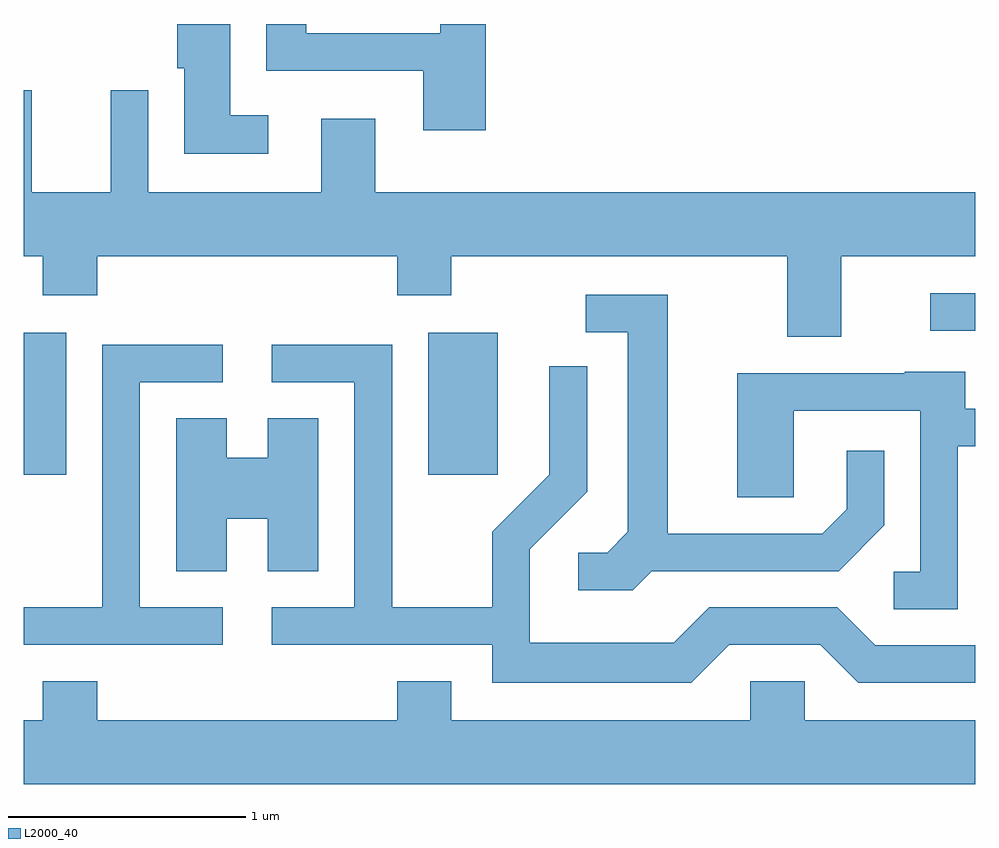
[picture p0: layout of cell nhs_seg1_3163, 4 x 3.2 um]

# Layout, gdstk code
import gdstk
lib = gdstk.Library(unit=1e-6, precision=1e-09)
def R(c, l, rs):  # rectangles x0, y0, x1, y1
    for r in rs: c.add(gdstk.rectangle(r[:2], r[2:], *l))
def P(c, l, *ps):  # polygons
    for p in ps: c.add(gdstk.Polygon(p, *l))
L2000_40 = (2000, 40)

nhs_seg1_3163 = lib.new_cell('nhs_seg1_3163')
R(nhs_seg1_3163, L2000_40, [(281.611,849.816,281.789,850.414), (283.311,849.816,283.604,850.414), (285.423,850.421,285.611,850.579), (281.611,851.711,281.724,851.712)])
P(nhs_seg1_3163, L2000_40, [(283.554,851.712),(283.361,851.712),(283.361,851.674),(282.799,851.674),(282.799,851.712),(282.631,851.712),(282.631,851.516),(283.291,851.516),(283.291,851.266),(283.554,851.266)],
  [(282.638,851.329),(282.479,851.329),(282.479,851.712),(282.256,851.712),(282.256,851.526),(282.286,851.526),(282.286,851.166),(282.638,851.166)],
  [(285.049,850.736),(285.611,850.736),(285.611,851.004),(283.089,851.004),(283.089,851.314),(282.861,851.314),(282.861,851.004),(282.134,851.004),(282.134,851.433),(281.976,851.433),(281.976,851.004),(281.644,851.004),(281.644,851.433),(281.611,851.433),(281.611,850.736),(281.691,850.736),(281.691,850.571),(281.919,850.571),(281.919,850.736),(283.181,850.736),(283.181,850.571),(283.409,850.571),(283.409,850.736),(284.821,850.736),(284.821,850.396),(285.049,850.396)],
  [(284.252,849.411),(285.037,849.411),(285.229,849.604),(285.229,849.918),(285.071,849.918),(285.071,849.672),(284.969,849.569),(284.319,849.569),(284.319,850.574),(283.973,850.574),(283.973,850.416),(284.151,850.416),(284.151,849.577),(284.064,849.489),(283.943,849.489),(283.943,849.331),(284.172,849.331)],
  [(284.577,849.101),(284.959,849.101),(285.119,848.941),(285.611,848.941),(285.611,849.099),(285.192,849.099),(285.032,849.259),(284.494,849.259),(284.344,849.109),(283.739,849.109),(283.739,849.504),(283.979,849.744),(283.979,850.273),(283.821,850.273),(283.821,849.817),(283.581,849.577),(283.581,849.259),(283.159,849.259),(283.159,850.364),(282.653,850.364),(282.653,850.206),(283.001,850.206),(283.001,849.259),(282.653,849.259),(282.653,849.101),(283.581,849.101),(283.581,848.941),(284.417,848.941)],
  [(282.448,849.259),(282.099,849.259),(282.099,850.206),(282.448,850.206),(282.448,850.364),(281.941,850.364),(281.941,849.259),(281.611,849.259),(281.611,849.101),(282.448,849.101)],
  [(285.539,849.936),(285.611,849.936),(285.611,850.094),(285.569,850.094),(285.569,850.249),(285.315,850.249),(285.315,850.244),(284.611,850.244),(284.611,849.721),(284.849,849.721),(284.849,850.086),(285.381,850.086),(285.381,849.409),(285.268,849.409),(285.268,849.251),(285.539,849.251)],
  [(282.464,849.631),(282.636,849.631),(282.636,849.411),(282.849,849.411),(282.849,850.054),(282.636,850.054),(282.636,849.889),(282.464,849.889),(282.464,850.054),(282.251,850.054),(282.251,849.411),(282.464,849.411)],
  [(285.611,848.784),(284.894,848.784),(284.894,848.949),(284.666,848.949),(284.666,848.784),(283.409,848.784),(283.409,848.949),(283.181,848.949),(283.181,848.784),(281.919,848.784),(281.919,848.949),(281.691,848.949),(281.691,848.784),(281.611,848.784),(281.611,848.516),(285.611,848.516)])

lib.write_gds('nhs_seg1_3163.gds')
